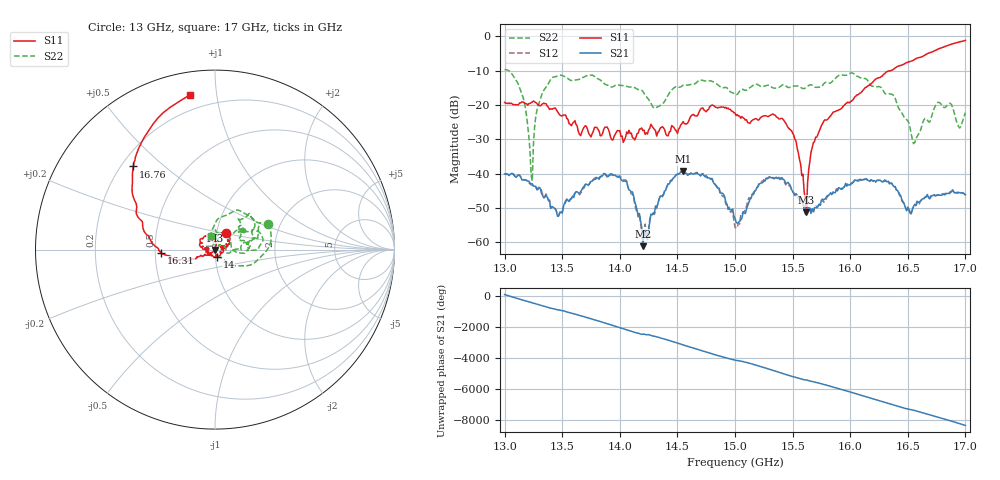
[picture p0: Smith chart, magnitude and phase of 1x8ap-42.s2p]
!Keysight Technologies,P9374A,MY57211807,A.19.30.04
!Date: Friday, May 08, 2026 15:45:03
!Correction: S11(C  2-Port  )
!S21(C  2-Port  )
!S12(C  2-Port  )
!S22(C  2-Port  )
!S2P File: Measurements: S11, S21, S12, S22:
# Hz S  dB  R 50
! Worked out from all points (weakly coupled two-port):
!   401 points, 13 GHz to 17 GHz, reference 50 ohm
!   highest |S21| = -39.28 dB at 14.55 GHz (marker M1); lowest = -61.1 dB at 14.2 GHz (marker M2)
!   lowest |S11| = -51.2 dB at 15.62 GHz (marker M3), VSWR 1.01, Z = 50 - j0.272 ohm
!   |S11| at or under -10 dB: start of sweep to 16.35 GHz
!   |S22| runs from -42.1 to -9.6 dB; largest |S21 - S12| = 0.00083
!   S11 on the Smith chart (normalised r, x): 13 GHz: 1.11, +0.21; 14 GHz: 1.02, -0.08; 16.31 GHz: 0.54, -0.02; 16.76 GHz: 0.25, +0.40; 17 GHz: 0.12, +0.84
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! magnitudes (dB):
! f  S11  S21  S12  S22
! 13 GHz  -19.2  -40.0  -40.0  -9.6
! 13.15 GHz  -19.1  -41.8  -41.6  -16.8
! 13.23 GHz  -19.3  -42.9  -43.2  -40.4
! 13.35 GHz  -19.6  -46.8  -46.5  -15.2
! 13.48 GHz  -22.9  -51.4  -51.0  -11.3
! 13.67 GHz  -27.8  -44.7  -45.2  -12.1
! 14 GHz  -27.4  -41.0  -40.6  -14.3
! 14.2 GHz  -27.4  -61.1  -59.8  -16.0
! 14.34 GHz  -27.6  -47.4  -47.5  -20.3
! 14.55 GHz  -24.8  -39.3  -39.3  -14.2
! 14.79 GHz  -20.2  -41.5  -41.6  -12.9
! 15 GHz  -22.3  -52.9  -55.6  -16.8
! 15.23 GHz  -23.4  -42.7  -42.2  -14.5
! 15.42 GHz  -24.3  -41.7  -42.2  -14.0
! 15.62 GHz  -51.2  -51.1  -50.4  -14.8
! 15.67 GHz  -32.4  -50.2  -50.2  -14.2
! 16.01 GHz  -18.9  -42.9  -42.7  -10.6
! 16.31 GHz  -10.4  -42.2  -42.0  -16.8
! 16.34 GHz  -10.1  -43.0  -42.6  -16.7
! 16.56 GHz  -6.7  -48.9  -48.9  -30.9
! 16.76 GHz  -3.8  -46.2  -46.2  -19.2
! 17 GHz  -1.2  -46.1  -46.2  -22.2
